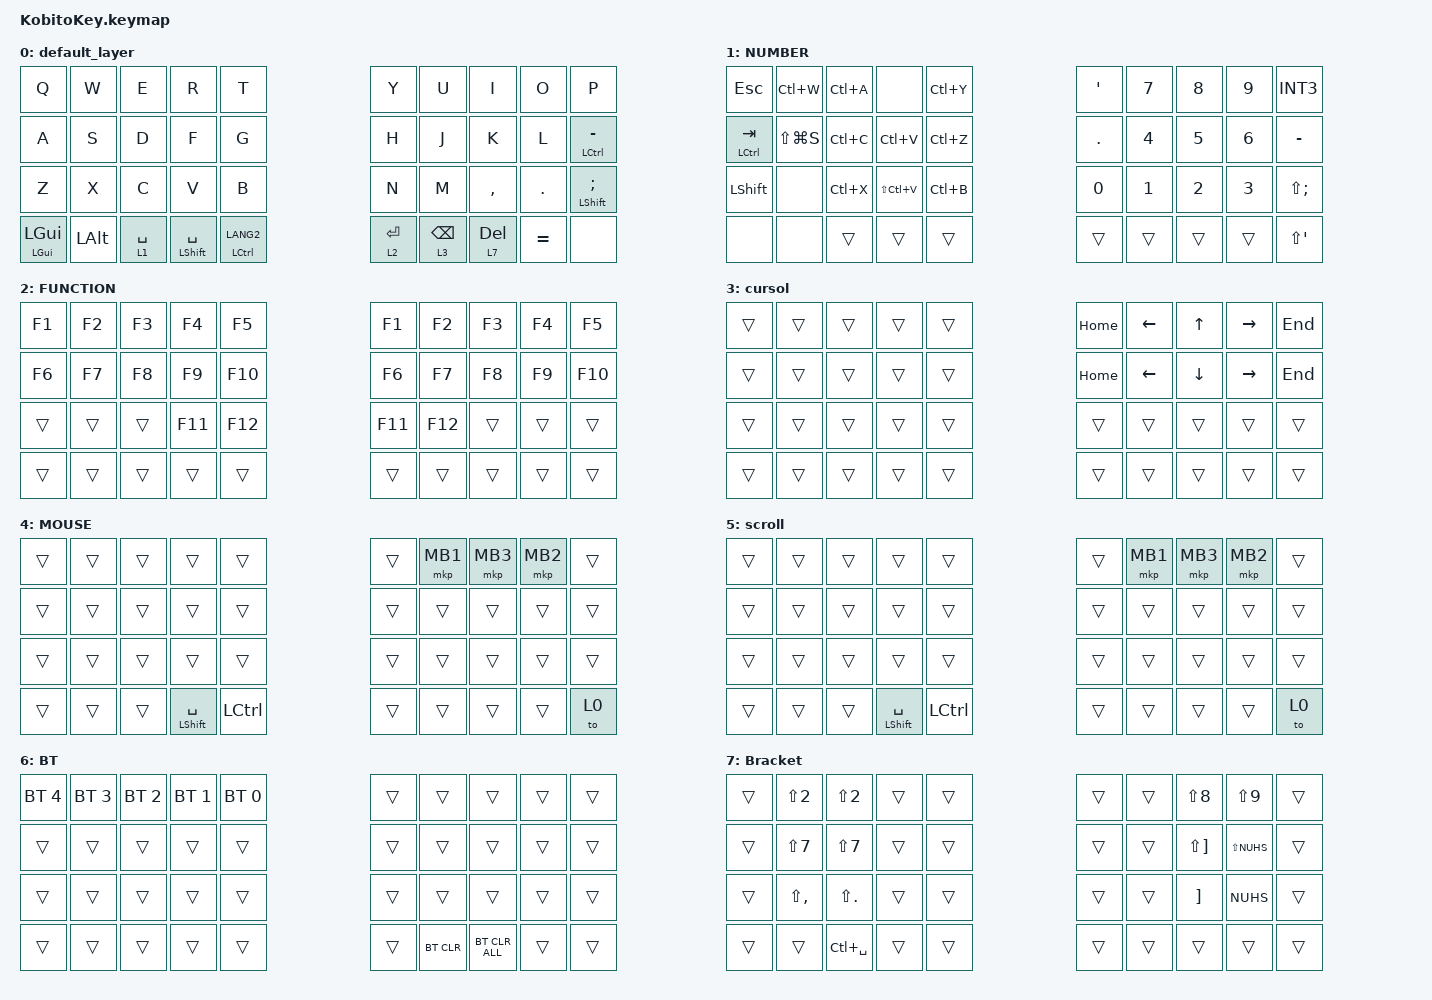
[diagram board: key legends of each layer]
#include <input/processors.dtsi>
#include <behaviors.dtsi>
#include <dt-bindings/zmk/bt.h>
#include <dt-bindings/zmk/keys.h>
#include <dt-bindings/zmk/pointing.h>
#include "layout_shift.dtsi"

/ {
    behaviors {
        // Keep the original key_press behavior for ZMK core components

        original_key_press: original_key_press {
            compatible = "zmk,behavior-key-press";
            #binding-cells = <1>;
            label = "KEY_PRESS";
        };

        // Override the existing &kp behavior to use our custom implementation

        kp: key_press {
            compatible = "zmk,behavior-layout-shift-key-press";
            #binding-cells = <1>;
            label = "LAYOUT_SHIFT_KEY_PRESS";
        };

        mo_mkp: mo_mkp {
            compatible = "zmk,behavior-hold-tap";
            label = "MO_MKP";
            bindings = <&mo>, <&mkp>;

            #binding-cells = <2>;
            tapping-term-ms = <250>;
            flavor = "balanced";
        };
    };
};

/ {
    combos {
        compatible = "zmk,combos";

        combo_eisu {
            timeout-ms = <50>;
            key-positions = <12 13>;
            bindings = <&kp LANG2>;
        };

        combo_kana {
            timeout-ms = <50>;
            key-positions = <16 17>;
            bindings = <&kp LANG1>;
        };

        combo_esc {
            timeout-ms = <50>;
            key-positions = <0 1>;
            bindings = <&kp ESC>;
        };

        exclamation {
            bindings = <&kp LS(NUMBER_1)>;
            key-positions = <22 23>;
        };

        question {
            bindings = <&kp LS(SLASH)>;
            key-positions = <26 27>;
        };

        underscore {
            bindings = <&kp LS(INT1)>;
            key-positions = <18 19>;
        };

        yen {
            bindings = <&kp SLASH>;
            key-positions = <8 9>;
        };

        atmark {
            bindings = <&kp LEFT_BRACKET>;
            key-positions = <28 29>;
        };

        bt {
            bindings = <&mo 6>;
            key-positions = <5 9>;
        };

        scr_mb4 {
            bindings = <&mo_mkp 5 MB4>;
            key-positions = <6 7>;
            layers = <4 5>;
        };

        mb5 {
            bindings = <&mkp MB5>;
            key-positions = <8 7>;
            layers = <4 5>;
        };

        macro_bra_s {
            bindings = <&macro_bra_s>;
            key-positions = <7 8>;
            layers = <0 1>;
        };

        macro_bra_m {
            bindings = <&macro_bra_m>;
            key-positions = <17 18>;
        };

        macro_bra_l {
            bindings = <&macro_bra_l>;
            key-positions = <27 28>;
        };

        macro_dq {
            bindings = <&macro_dq>;
            key-positions = <1 2>;
        };

        macro_sq {
            bindings = <&macro_sq>;
            key-positions = <11 12>;
        };

        macro_bra_ket {
            bindings = <&macro_bra_ket>;
            key-positions = <22 21>;
        };
    };

    macros {
        macro_bra_s: macro_bra_s {
            compatible = "zmk,behavior-macro";
            #binding-cells = <0>;
            bindings = <&kp LS(N8) &kp LS(N9) &kp LEFT>;
            label = "MACRO_BRA_S";
        };

        macro_bra_m: macro_bra_m {
            compatible = "zmk,behavior-macro";
            #binding-cells = <0>;
            bindings = <&kp LS(RIGHT_BRACKET) &kp LS(NON_US_HASH) &kp LEFT>;
            label = "MACRO_BRA_M";
        };

        macro_bra_l: macro_bra_l {
            compatible = "zmk,behavior-macro";
            #binding-cells = <0>;
            bindings = <&kp RIGHT_BRACKET &kp NON_US_HASH &kp LEFT>;
            label = "MACRO_BRA_L";
        };

        macro_dq: macro_dq {
            compatible = "zmk,behavior-macro";
            #binding-cells = <0>;
            bindings = <&kp LS(N2) &kp LS(N2) &kp LEFT>;
            label = "MACRO_DQ";
        };

        macro_sq: macro_sq {
            compatible = "zmk,behavior-macro";
            #binding-cells = <0>;
            bindings = <&kp LS(N7) &kp LS(N7) &kp LEFT>;
            label = "MACRO_SQ";
        };

        macro_bra_ket: macro_bra_ket {
            compatible = "zmk,behavior-macro";
            #binding-cells = <0>;
            bindings = <&kp LS(COMMA) &kp LS(DOT) &kp LEFT>;
            label = "MACRO_BRA_KET";
        };
    };

    keymap {
        compatible = "zmk,keymap";

        default_layer {
            bindings = <
&kp Q                  &kp W         &kp E  &kp R        &kp T                                               &kp Y            &kp U      &kp I      &kp O      &kp P
&kp A                  &kp S         &kp D  &kp F        &kp G                                               &kp H            &kp J      &kp K      &kp L      &mt LCTRL MINUS
&kp Z                  &kp X         &kp C  &kp V        &kp B                                               &kp N            &kp M      &kp COMMA  &kp DOT    &mt LSHIFT SEMICOLON
&mt LEFT_GUI LEFT_GUI  &kp LEFT_ALT         &lt 1 SPACE  &mt LEFT_SHIFT SPACE  &mt LCTRL LANG2  &lt 2 ENTER  &lt 3 BACKSPACE  &lt 7 DEL             &kp EQUAL  &none
            >;
        };

        NUM {
            label = "NUMBER";
            bindings = <
&kp ESCAPE     &kp LC(W)      &kp LC(A)  &none          &kp LC(Y)                  &kp SINGLE_QUOTE  &kp N7  &kp N8  &kp N9  &kp INT3
&mt LCTRL TAB  &kp LS(LG(S))  &kp LC(C)  &kp LC(V)      &kp LC(Z)                  &kp PERIOD        &kp N4  &kp N5  &kp N6  &kp MINUS
&kp LSHIFT     &none          &kp LC(X)  &kp LS(LC(V))  &kp LC(B)                  &kp N0            &kp N1  &kp N2  &kp N3  &kp LS(SEMICOLON)
&none          &none                     &trans         &trans     &trans  &trans  &trans            &trans          &trans  &kp LS(SINGLE_QUOTE)
            >;
        };

        FUNC {
            label = "FUNCTION";
            bindings = <
&kp F1  &kp F2  &kp F3  &kp F4   &kp F5                   &kp F1   &kp F2   &kp F3  &kp F4  &kp F5
&kp F6  &kp F7  &kp F8  &kp F9   &kp F10                  &kp F6   &kp F7   &kp F8  &kp F9  &kp F10
&trans  &trans  &trans  &kp F11  &kp F12                  &kp F11  &kp F12  &trans  &trans  &trans
&trans  &trans          &trans   &trans   &trans  &trans  &trans   &trans           &trans  &trans
            >;
        };

        cursol {
            bindings = <
&trans  &trans  &trans  &trans  &trans                  &kp HOME  &kp LEFT  &kp UP    &kp RIGHT  &kp END
&trans  &trans  &trans  &trans  &trans                  &kp HOME  &kp LEFT  &kp DOWN  &kp RIGHT  &kp END
&trans  &trans  &trans  &trans  &trans                  &trans    &trans    &trans    &trans     &trans
&trans  &trans          &trans  &trans  &trans  &trans  &trans    &trans              &trans     &trans
            >;
        };

        MOUSE {
            label = "MOUSE";
            bindings = <
&trans  &trans  &trans  &trans  &trans                               &trans  &mkp MB1  &mkp MB3  &mkp MB2  &trans
&trans  &trans  &trans  &trans  &trans                               &trans  &trans    &trans    &trans    &trans
&trans  &trans  &trans  &trans  &trans                               &trans  &trans    &trans    &trans    &trans
&trans  &trans          &trans  &mt LSHIFT SPACE  &kp LCTRL  &trans  &trans  &trans              &trans    &to 0
            >;
        };

        scroll {
            label = "scroll";
            bindings = <
&trans  &trans  &trans  &trans  &trans                               &trans  &mkp MB1  &mkp MB3  &mkp MB2  &trans
&trans  &trans  &trans  &trans  &trans                               &trans  &trans    &trans    &trans    &trans
&trans  &trans  &trans  &trans  &trans                               &trans  &trans    &trans    &trans    &trans
&trans  &trans          &trans  &mt LSHIFT SPACE  &kp LCTRL  &trans  &trans  &trans              &trans    &to 0
            >;
        };

        BT {
            label = "BT";
            bindings = <
&bt BT_SEL 4  &bt BT_SEL 3  &bt BT_SEL 2  &bt BT_SEL 1  &bt BT_SEL 0                  &trans      &trans          &trans  &trans  &trans
&trans        &trans        &trans        &trans        &trans                        &trans      &trans          &trans  &trans  &trans
&trans        &trans        &trans        &trans        &trans                        &trans      &trans          &trans  &trans  &trans
&trans        &trans                      &trans        &trans        &trans  &trans  &bt BT_CLR  &bt BT_CLR_ALL          &trans  &trans
            >;
        };

        Bracket {
            bindings = <
&trans  &kp LS(N2)     &kp LS(N2)      &trans         &trans                  &trans  &trans  &kp LS(N8)             &kp LS(N9)    &trans
&trans  &kp LS(N7)     &kp LS(N7)      &trans         &trans                  &trans  &trans  &kp LS(RIGHT_BRACKET)  &kp LS(NUHS)  &trans
&trans  &kp LS(COMMA)  &kp LS(PERIOD)  &trans         &trans                  &trans  &trans  &kp RIGHT_BRACKET      &kp NUHS      &trans
&trans  &trans                         &kp LC(SPACE)  &trans  &trans  &trans  &trans  &trans                         &trans        &trans
            >;
        };
    };
};
